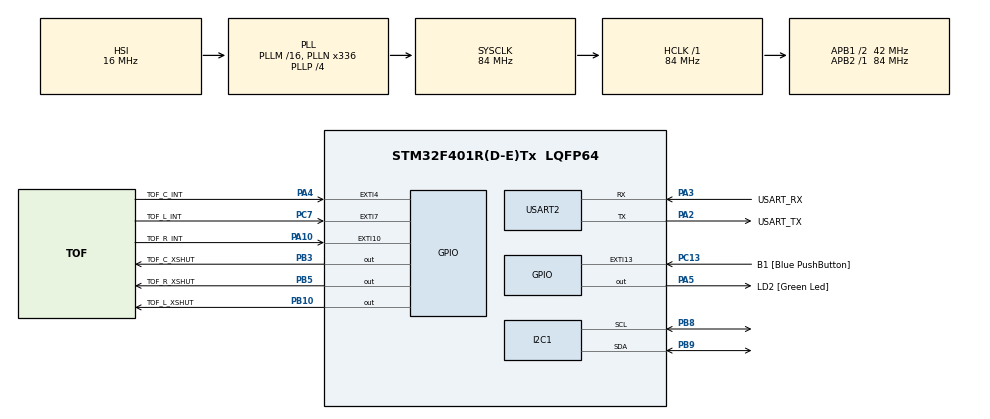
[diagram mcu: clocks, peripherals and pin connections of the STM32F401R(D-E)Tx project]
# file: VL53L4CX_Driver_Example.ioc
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Mcu.Family=STM32F4
Mcu.Name=STM32F401R(D-E)Tx
Mcu.Package=LQFP64
NVIC.EXTI15_10_IRQn=true\:0\:0\:false\:false\:true\:true\:true\:true
NVIC.EXTI4_IRQn=true\:0\:0\:false\:false\:true\:true\:true\:true
NVIC.EXTI9_5_IRQn=true\:0\:0\:false\:false\:true\:true\:true\:true
NVIC.PriorityGroup=NVIC_PRIORITYGROUP_0
PA10.GPIO_Label=TOF_R_INT
PA10.GPIO_ModeDefaultEXTI=GPIO_MODE_IT_FALLING
PA10.Signal=GPXTI10
PA13.GPIO_Label=TMS
PA13.Mode=Serial_Wire
PA13.Signal=SYS_JTMS-SWDIO
PA14.GPIO_Label=TCK
PA14.Mode=Serial_Wire
PA14.Signal=SYS_JTCK-SWCLK
PA2.GPIO_Label=USART_TX
PA2.GPIO_Mode=GPIO_MODE_AF_PP
PA2.GPIO_PuPd=GPIO_NOPULL
PA2.GPIO_Speed=GPIO_SPEED_FREQ_LOW
PA2.Mode=Asynchronous
PA2.Signal=USART2_TX
PA3.GPIO_Label=USART_RX
PA3.GPIO_Mode=GPIO_MODE_AF_PP
PA3.GPIO_PuPd=GPIO_NOPULL
PA3.GPIO_Speed=GPIO_SPEED_FREQ_LOW
PA3.Mode=Asynchronous
PA3.Signal=USART2_RX
PA4.GPIO_Label=TOF_C_INT
PA4.GPIO_ModeDefaultEXTI=GPIO_MODE_IT_FALLING
PA4.Signal=GPXTI4
PA5.GPIO_Label=LD2 [Green Led]
PA5.GPIO_Mode=GPIO_MODE_OUTPUT_PP
PA5.GPIO_PuPd=GPIO_NOPULL
PA5.GPIO_Speed=GPIO_SPEED_FREQ_LOW
PA5.Signal=GPIO_Output
PB10.GPIO_Label=TOF_L_XSHUT
PB10.GPIO_ModeDefaultOutputPP=GPIO_MODE_OUTPUT_PP
PB10.GPIO_PuPd=GPIO_PULLUP
PB10.PinState=GPIO_PIN_SET
PB10.Signal=GPIO_Output
PB3.GPIO_Label=TOF_C_XSHUT
PB3.GPIO_ModeDefaultOutputPP=GPIO_MODE_OUTPUT_PP
PB3.GPIO_PuPd=GPIO_PULLUP
PB3.PinState=GPIO_PIN_SET
PB3.Signal=GPIO_Output
PB5.GPIO_Label=TOF_R_XSHUT
PB5.GPIO_ModeDefaultOutputPP=GPIO_MODE_OUTPUT_PP
PB5.GPIO_PuPd=GPIO_PULLUP
PB5.PinState=GPIO_PIN_SET
PB5.Signal=GPIO_Output
PB8.Mode=I2C
PB8.Signal=I2C1_SCL
PB9.Mode=I2C
PB9.Signal=I2C1_SDA
PC13-ANTI_TAMP.GPIO_Label=B1 [Blue PushButton]
PC13-ANTI_TAMP.GPIO_ModeDefaultEXTI=GPIO_MODE_IT_FALLING
PC13-ANTI_TAMP.GPIO_PuPd=GPIO_NOPULL
PC13-ANTI_TAMP.Signal=GPXTI13
PC14-OSC32_IN.Mode=LSE-External-Oscillator
PC14-OSC32_IN.Signal=RCC_OSC32_IN
PC15-OSC32_OUT.Mode=LSE-External-Oscillator
PC15-OSC32_OUT.Signal=RCC_OSC32_OUT
PC7.GPIO_Label=TOF_L_INT
PC7.GPIO_ModeDefaultEXTI=GPIO_MODE_IT_FALLING
PC7.Signal=GPXTI7
PH0\ -\ OSC_IN.Mode=HSE-External-Clock-Source
PH0\ -\ OSC_IN.Signal=RCC_OSC_IN
PH1\ -\ OSC_OUT.Mode=HSE-External-Clock-Source
PH1\ -\ OSC_OUT.Signal=RCC_OSC_OUT
ProjectManager.HeapSize=0x200
ProjectManager.StackSize=0x400
ProjectManager.TargetToolchain=STM32CubeIDE
RCC.48MHZClocksFreq_Value=48000000
RCC.AHBFreq_Value=84000000
RCC.APB1CLKDivider=RCC_HCLK_DIV2
RCC.APB1Freq_Value=42000000
RCC.APB1TimFreq_Value=84000000
RCC.APB2Freq_Value=84000000
RCC.APB2TimFreq_Value=84000000
RCC.CortexFreq_Value=84000000
RCC.HCLKFreq_Value=84000000
RCC.HSE_VALUE=8000000
RCC.HSI_VALUE=16000000
RCC.PLLN=336
RCC.PLLP=RCC_PLLP_DIV4
RCC.PLLQ=7
RCC.SYSCLKFreq_VALUE=84000000
RCC.SYSCLKSource=RCC_SYSCLKSOURCE_PLLCLK
RCC.VCOOutputFreq_Value=336000000
USART2.VirtualMode=VM_ASYNC
board=NUCLEO-F401RE

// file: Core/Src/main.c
/* USER CODE BEGIN Header */
/**
 ******************************************************************************
 * @file           : main.c
 * @brief          : Main program body
 ******************************************************************************
 * @attention
 *
 * Copyright (c) 2022 STMicroelectronics.
 * All rights reserved.
 *
 * This software is licensed under terms that can be found in the LICENSE file
 * in the root directory of this software component.
 * If no LICENSE file comes with this software, it is provided AS-IS.
 *
 ******************************************************************************
 */
/* USER CODE END Header */
#include "main.h"

/* USER CODE BEGIN Includes */
#include <stdio.h>
#include "VL53Lx_api.h"

/* USER CODE END Includes */

/* USER CODE BEGIN PD */
#define is_interrupt 0 /*is_interrupt = 1 => get data by interrupt, = 0 => get data by polling */
/* USER CODE END PD */

I2C_HandleTypeDef hi2c1;

UART_HandleTypeDef huart2;

/* USER CODE BEGIN PV */
int status;
VL53LX_Dev_t                   dev;
VL53LX_DEV                     Dev = &dev;
volatile int IntCount;

/* USER CODE END PV */

void SystemClock_Config(void);
static void MX_GPIO_Init(void);
static void MX_I2C1_Init(void);
static void MX_USART2_UART_Init(void);
/* USER CODE BEGIN PFP */

#ifdef __GNUC__
#define PUTCHAR_PROTOTYPE int __io_putchar(int ch)
#else
#define PUTCHAR_PROTOTYPE int fputc(int ch, FILE *f)
#endif
PUTCHAR_PROTOTYPE
{
	HAL_UART_Transmit(&huart2, (uint8_t *)&ch, 1, 0xFFFF);
	return ch;
}
/* USER CODE END PFP */

/* USER CODE BEGIN 0 */
void HAL_GPIO_EXTI_Callback(uint16_t GPIO_Pin)
{
	/* center ToF interrupt pin, please refer to the *.IOC file to have all pin out configuration*/
	if (GPIO_Pin==GPIO_PIN_4)
//	/* right ToF interrupt pin */
//	if (GPIO_Pin==GPIO_PIN_10)
//	/* left ToF interrupt pin */
//	if (GPIO_Pin==GPIO_PIN_7)
	{
		IntCount++;
	}
}
/* USER CODE END 0 */

int main(void)
{
	/* USER CODE BEGIN 1 */
	uint8_t byteData;
	uint16_t wordData;
	VL53LX_MultiRangingData_t MultiRangingData;
	VL53LX_MultiRangingData_t *pMultiRangingData = &MultiRangingData;
	uint8_t NewDataReady=0;
	int no_of_object_found=0,j;

	/* USER CODE END 1 */

	/* MCU Configuration--------------------------------------------------------*/

	/* Reset of all peripherals, Initializes the Flash interface and the Systick. */
	HAL_Init();
	/* Configure the system clock */
	SystemClock_Config();
	/* Initialize all configured peripherals */
	MX_GPIO_Init();
	MX_I2C1_Init();
	MX_USART2_UART_Init();
	/* USER CODE BEGIN 2 */
	printf("VL53L4CX Examples...\n");
	Dev->I2cHandle = &hi2c1;
	Dev->I2cDevAddr = 0x52;
	// Center ToF
	HAL_GPIO_WritePin(GPIOB, TOF_C_XSHUT_Pin, GPIO_PIN_RESET);
	HAL_Delay(5);
	HAL_GPIO_WritePin(GPIOB, TOF_C_XSHUT_Pin, GPIO_PIN_SET);
	HAL_Delay(5);

	// Satellite Right ToF
	HAL_GPIO_WritePin(GPIOB, TOF_R_XSHUT_Pin, GPIO_PIN_RESET);
	//	HAL_Delay(5);
	//	HAL_GPIO_WritePin(GPIOB, TOF_R_XSHUT_Pin, GPIO_PIN_SET);
	//	HAL_Delay(5);

	// Satellite Left ToF
	HAL_GPIO_WritePin(GPIOB, TOF_L_XSHUT_Pin, GPIO_PIN_RESET);
	//	HAL_Delay(5);
	//	HAL_GPIO_WritePin(GPIOB, TOF_L_XSHUT_Pin, GPIO_PIN_SET);
	//	HAL_Delay(5);

	// device ID must be 0XEBAA, those lines can be used to check if the I2C basic functions have been implemented correctly
	VL53LX_RdByte(Dev, 0x010F, &byteData);
	printf("VL53L4CX Model_ID: %02X\n\r", byteData);
	VL53LX_RdByte(Dev, 0x0110, &byteData);
	printf("VL53L4CX Module_Type: %02X\n\r", byteData);
	VL53LX_RdWord(Dev, 0x010F, &wordData);
	printf("VL53L4CX: %02X\n\r", wordData);

	printf("Ranging loop starts\n");
	status = VL53LX_WaitDeviceBooted(Dev);
	if(status){
		printf("VL53LX_WaitDeviceBooted failed: error = %d \n", status);
		while(1);
	}
	status = VL53LX_DataInit(Dev);
	if(status){
		printf("VL53LX_DataInit failed: error = %d \n", status);
		while(1);
	}
	status = VL53LX_StartMeasurement(Dev);
	if(status){
		printf("VL53LX_StartMeasurement failed: error = %d \n", status);
		while(1);
	}
	/* USER CODE END 2 */
	/* Infinite loop */
	/* USER CODE BEGIN WHILE */
	while (1)
	{
		if(!is_interrupt){ // polling mode
			status = VL53LX_GetMeasurementDataReady(Dev, &NewDataReady);
			HAL_Delay(5);
			if((!status)&&(NewDataReady!=0)){
				status = VL53LX_GetMultiRangingData(Dev, pMultiRangingData);
				no_of_object_found=pMultiRangingData->NumberOfObjectsFound;
				printf("Count=%5d, ", pMultiRangingData->StreamCount);
				printf("#Objs=%1d ", no_of_object_found);
				for(j=0;j<no_of_object_found;j++){
					if(j!=0)printf("\n                     ");
					printf("status=%d, D=%5dmm, Signal=%2.2f Mcps, Ambient=%2.2f Mcps",
							pMultiRangingData->RangeData[j].RangeStatus,
							pMultiRangingData->RangeData[j].RangeMilliMeter,
							pMultiRangingData->RangeData[j].SignalRateRtnMegaCps/65536.0,
							pMultiRangingData->RangeData[j].AmbientRateRtnMegaCps/65536.0);
				}
				printf ("\n");
				if (status==0){
					status = VL53LX_ClearInterruptAndStartMeasurement(Dev);
				}
			}
		}
		else{
			do // HW interrupt mode
			{
				__WFI();
				if(IntCount !=0 ){
					IntCount=0;
					status = VL53LX_GetMultiRangingData(Dev, pMultiRangingData);
					no_of_object_found=pMultiRangingData->NumberOfObjectsFound;
					printf("Count=%5d, ", pMultiRangingData->StreamCount);
					printf("#Objs=%1d ", no_of_object_found);
					for(j=0;j<no_of_object_found;j++){
						if(j!=0)printf("\n                     ");
						printf("status=%d, D=%5dmm, Signal=%2.2f Mcps, Ambient=%2.2f Mcps",
								pMultiRangingData->RangeData[j].RangeStatus,
								pMultiRangingData->RangeData[j].RangeMilliMeter,
								pMultiRangingData->RangeData[j].SignalRateRtnMegaCps/65536.0,
								pMultiRangingData->RangeData[j].AmbientRateRtnMegaCps/65536.0);
					}
					printf ("\n");
					if (status==0){
						status = VL53LX_ClearInterruptAndStartMeasurement(Dev);
					}
				}
			}
			while(1);
		}

		/* USER CODE END WHILE */

	}
}

void SystemClock_Config(void)
{
	RCC_OscInitTypeDef RCC_OscInitStruct = {0};
	RCC_ClkInitTypeDef RCC_ClkInitStruct = {0};

	/** Configure the main internal regulator output voltage
	 */
	__HAL_RCC_PWR_CLK_ENABLE();
	__HAL_PWR_VOLTAGESCALING_CONFIG(PWR_REGULATOR_VOLTAGE_SCALE2);

	/** Initializes the RCC Oscillators according to the specified parameters
	 * in the RCC_OscInitTypeDef structure.
	 */
	RCC_OscInitStruct.OscillatorType = RCC_OSCILLATORTYPE_HSI;
	RCC_OscInitStruct.HSIState = RCC_HSI_ON;
	RCC_OscInitStruct.HSICalibrationValue = RCC_HSICALIBRATION_DEFAULT;
	RCC_OscInitStruct.PLL.PLLState = RCC_PLL_ON;
	RCC_OscInitStruct.PLL.PLLSource = RCC_PLLSOURCE_HSI;
	RCC_OscInitStruct.PLL.PLLM = 16;
	RCC_OscInitStruct.PLL.PLLN = 336;
	RCC_OscInitStruct.PLL.PLLP = RCC_PLLP_DIV4;
	RCC_OscInitStruct.PLL.PLLQ = 7;
	if (HAL_RCC_OscConfig(&RCC_OscInitStruct) != HAL_OK)
	{
		Error_Handler();
	}

	/** Initializes the CPU, AHB and APB buses clocks
	 */
	RCC_ClkInitStruct.ClockType = RCC_CLOCKTYPE_HCLK|RCC_CLOCKTYPE_SYSCLK
			|RCC_CLOCKTYPE_PCLK1|RCC_CLOCKTYPE_PCLK2;
	RCC_ClkInitStruct.SYSCLKSource = RCC_SYSCLKSOURCE_PLLCLK;
	RCC_ClkInitStruct.AHBCLKDivider = RCC_SYSCLK_DIV1;
	RCC_ClkInitStruct.APB1CLKDivider = RCC_HCLK_DIV2;
	RCC_ClkInitStruct.APB2CLKDivider = RCC_HCLK_DIV1;

	if (HAL_RCC_ClockConfig(&RCC_ClkInitStruct, FLASH_LATENCY_2) != HAL_OK)
	{
		Error_Handler();
	}
}

static void MX_I2C1_Init(void)
{

	hi2c1.Instance = I2C1;
	hi2c1.Init.ClockSpeed = 100000;
	hi2c1.Init.DutyCycle = I2C_DUTYCYCLE_2;
	hi2c1.Init.OwnAddress1 = 0;
	hi2c1.Init.AddressingMode = I2C_ADDRESSINGMODE_7BIT;
	hi2c1.Init.DualAddressMode = I2C_DUALADDRESS_DISABLE;
	hi2c1.Init.OwnAddress2 = 0;
	hi2c1.Init.GeneralCallMode = I2C_GENERALCALL_DISABLE;
	hi2c1.Init.NoStretchMode = I2C_NOSTRETCH_DISABLE;
	if (HAL_I2C_Init(&hi2c1) != HAL_OK)
	{
		Error_Handler();
	}

}

static void MX_USART2_UART_Init(void)
{

	huart2.Instance = USART2;
	huart2.Init.BaudRate = 115200;
	huart2.Init.WordLength = UART_WORDLENGTH_8B;
	huart2.Init.StopBits = UART_STOPBITS_1;
	huart2.Init.Parity = UART_PARITY_NONE;
	huart2.Init.Mode = UART_MODE_TX_RX;
	huart2.Init.HwFlowCtl = UART_HWCONTROL_NONE;
	huart2.Init.OverSampling = UART_OVERSAMPLING_16;
	if (HAL_UART_Init(&huart2) != HAL_OK)
	{
		Error_Handler();
	}

}

static void MX_GPIO_Init(void)
{
	GPIO_InitTypeDef GPIO_InitStruct = {0};

	/* GPIO Ports Clock Enable */
	__HAL_RCC_GPIOC_CLK_ENABLE();
	__HAL_RCC_GPIOH_CLK_ENABLE();
	__HAL_RCC_GPIOA_CLK_ENABLE();
	__HAL_RCC_GPIOB_CLK_ENABLE();

	/*Configure GPIO pin Output Level */
	HAL_GPIO_WritePin(LD2_GPIO_Port, LD2_Pin, GPIO_PIN_RESET);

	/*Configure GPIO pin Output Level */
	HAL_GPIO_WritePin(GPIOB, TOF_L_XSHUT_Pin|TOF_C_XSHUT_Pin|TOF_R_XSHUT_Pin, GPIO_PIN_SET);

	/*Configure GPIO pins : B1_Pin TOF_L_INT_Pin */
	GPIO_InitStruct.Pin = B1_Pin|TOF_L_INT_Pin;
	GPIO_InitStruct.Mode = GPIO_MODE_IT_FALLING;
	GPIO_InitStruct.Pull = GPIO_NOPULL;
	HAL_GPIO_Init(GPIOC, &GPIO_InitStruct);

	/*Configure GPIO pins : TOF_C_INT_Pin TOF_R_INT_Pin */
	GPIO_InitStruct.Pin = TOF_C_INT_Pin|TOF_R_INT_Pin;
	GPIO_InitStruct.Mode = GPIO_MODE_IT_FALLING;
	GPIO_InitStruct.Pull = GPIO_NOPULL;
	HAL_GPIO_Init(GPIOA, &GPIO_InitStruct);

	/*Configure GPIO pin : LD2_Pin */
	GPIO_InitStruct.Pin = LD2_Pin;
	GPIO_InitStruct.Mode = GPIO_MODE_OUTPUT_PP;
	GPIO_InitStruct.Pull = GPIO_NOPULL;
	GPIO_InitStruct.Speed = GPIO_SPEED_FREQ_LOW;
	HAL_GPIO_Init(LD2_GPIO_Port, &GPIO_InitStruct);

	/*Configure GPIO pins : TOF_L_XSHUT_Pin TOF_C_XSHUT_Pin TOF_R_XSHUT_Pin */
	GPIO_InitStruct.Pin = TOF_L_XSHUT_Pin|TOF_C_XSHUT_Pin|TOF_R_XSHUT_Pin;
	GPIO_InitStruct.Mode = GPIO_MODE_OUTPUT_PP;
	GPIO_InitStruct.Pull = GPIO_PULLUP;
	GPIO_InitStruct.Speed = GPIO_SPEED_FREQ_LOW;
	HAL_GPIO_Init(GPIOB, &GPIO_InitStruct);

	/* EXTI interrupt init*/
	HAL_NVIC_SetPriority(EXTI4_IRQn, 0, 0);
	HAL_NVIC_EnableIRQ(EXTI4_IRQn);

	HAL_NVIC_SetPriority(EXTI9_5_IRQn, 0, 0);
	HAL_NVIC_EnableIRQ(EXTI9_5_IRQn);

	HAL_NVIC_SetPriority(EXTI15_10_IRQn, 0, 0);
	HAL_NVIC_EnableIRQ(EXTI15_10_IRQn);

}

void Error_Handler(void)
{
	__disable_irq();
	while (1)
	{
	}
}
